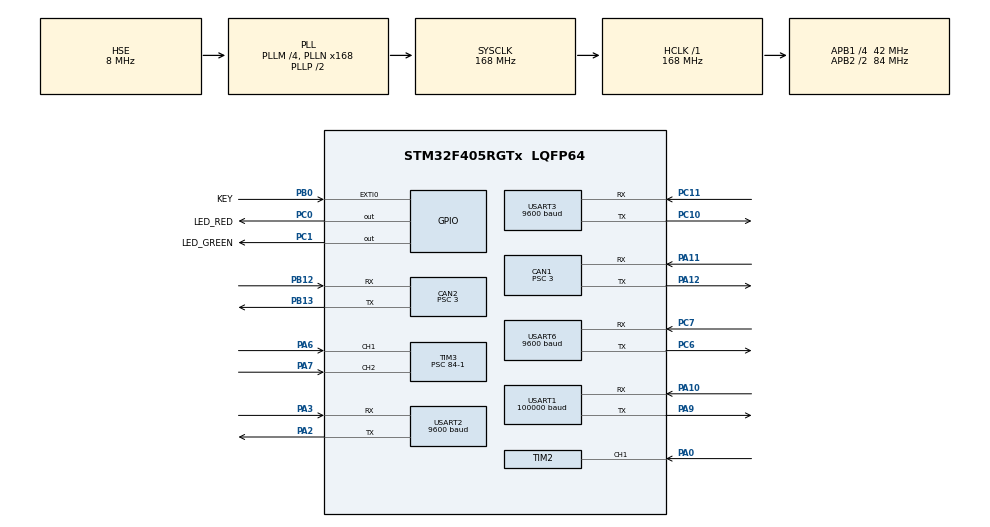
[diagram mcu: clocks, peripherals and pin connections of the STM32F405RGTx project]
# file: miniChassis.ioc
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Mcu.Family=STM32F4
NVIC.USART3_IRQn=true\:0\:0\:false\:false\:true\:true\:true
Dma.USART6_RX.5.FIFOMode=DMA_FIFOMODE_DISABLE
PH0-OSC_IN.Signal=RCC_OSC_IN
RCC.CortexFreq_Value=168000000
TIM2.Channel-Input_Capture1_from_TI1=TIM_CHANNEL_1
Dma.USART3_TX.4.Priority=DMA_PRIORITY_HIGH
NVIC.CAN2_RX0_IRQn=true\:0\:0\:false\:false\:true\:true\:true
Dma.USART6_RX.5.Priority=DMA_PRIORITY_LOW
Dma.USART2_TX.1.MemInc=DMA_MINC_ENABLE
USART1.BaudRate=100000
PC10.Signal=USART3_TX
USART1.WordLength=WORDLENGTH_9B
Dma.USART1_RX.2.Instance=DMA2_Stream2
PC0.GPIO_Label=LED_RED
PA11.Mode=Master
Dma.USART6_TX.6.MemDataAlignment=DMA_MDATAALIGN_BYTE
PB0.GPIO_Label=KEY
Dma.USART6_RX.5.PeriphDataAlignment=DMA_PDATAALIGN_BYTE
PB13.Signal=CAN2_TX
Dma.USART3_RX.3.Mode=DMA_NORMAL
RCC.SYSCLKSource=RCC_SYSCLKSOURCE_PLLCLK
ProjectManager.StackSize=0x400
Dma.USART6_RX.5.MemInc=DMA_MINC_ENABLE
Dma.USART3_RX.3.MemDataAlignment=DMA_MDATAALIGN_BYTE
PA12.Signal=CAN1_TX
USART3.BaudRate=9600
Dma.USART3_RX.3.PeriphDataAlignment=DMA_PDATAALIGN_BYTE
Dma.USART2_RX.0.Priority=DMA_PRIORITY_LOW
Dma.USART2_RX.0.PeriphDataAlignment=DMA_PDATAALIGN_BYTE
Dma.USART6_RX.5.Instance=DMA2_Stream1
RCC.HCLKFreq_Value=168000000
RCC.APB2TimFreq_Value=168000000
TIM3.Period=999
Dma.USART3_TX.4.MemDataAlignment=DMA_MDATAALIGN_BYTE
Dma.USART6_TX.6.PeriphInc=DMA_PINC_DISABLE
PC7.Signal=USART6_RX
Dma.USART2_TX.1.Mode=DMA_NORMAL
PC1.PinState=GPIO_PIN_SET
RCC.AHBFreq_Value=168000000
PH0-OSC_IN.Mode=HSE-External-Oscillator
RCC.HSE_VALUE=8000000
TIM3.Channel-Input_Capture1_from_TI1=TIM_CHANNEL_1
Dma.USART3_RX.3.Instance=DMA1_Stream1
PC1.GPIO_PuPd=GPIO_PULLUP
PA6.GPIO_PuPd=GPIO_PULLUP
Dma.USART2_RX.0.MemDataAlignment=DMA_MDATAALIGN_BYTE
PA14.Mode=Serial_Wire
CAN2.Prescaler=3
Dma.USART2_TX.1.Instance=DMA1_Stream6
TIM3.Prescaler=84-1
NVIC.TIM2_IRQn=true\:0\:0\:false\:false\:true\:true\:true
Dma.USART2_RX.0.Instance=DMA1_Stream5
Dma.USART6_TX.6.PeriphDataAlignment=DMA_PDATAALIGN_BYTE
Dma.USART3_RX.3.PeriphInc=DMA_PINC_DISABLE
SH.S_TIM3_CH1.0=TIM3_CH1,Input_Capture1_from_TI1
TIM4.Period=1000-1
Dma.USART3_TX.4.Direction=DMA_MEMORY_TO_PERIPH
PH1-OSC_OUT.Mode=HSE-External-Oscillator
CAN1.Prescaler=3
Mcu.Package=LQFP64
TIM2.Prescaler=84-1
PA6.Signal=S_TIM3_CH1
PB12.Mode=Slave
CAN2.BS1=CAN_BS1_7TQ
Dma.USART6_RX.5.PeriphInc=DMA_PINC_DISABLE
CAN2.BS2=CAN_BS2_6TQ
Dma.USART2_RX.0.PeriphInc=DMA_PINC_DISABLE
USART2.VirtualMode=VM_ASYNC
USART6.VirtualMode=VM_ASYNC
Dma.USART2_RX.0.FIFOMode=DMA_FIFOMODE_DISABLE
Dma.USART6_RX.5.Mode=DMA_NORMAL
PA10.Signal=USART1_RX
USART6.BaudRate=9600
PC11.Mode=Asynchronous
Dma.USART3_TX.4.Instance=DMA1_Stream3
Dma.USART3_RX.3.MemInc=DMA_MINC_ENABLE
RCC.APB2CLKDivider=RCC_HCLK_DIV2
NVIC.DMA2_Stream2_IRQn=true\:0\:0\:false\:false\:true\:false\:true
Dma.Request2=USART1_RX
Dma.Request1=USART2_TX
RCC.APB1TimFreq_Value=84000000
Dma.Request4=USART3_TX
Dma.Request3=USART3_RX
Dma.Request6=USART6_TX
Dma.Request5=USART6_RX
PB13.Mode=Slave
PC0.GPIO_PuPd=GPIO_PULLUP
NVIC.USART1_IRQn=true\:0\:0\:false\:false\:true\:true\:true
Dma.Request0=USART2_RX
NVIC.DMA1_Stream6_IRQn=true\:0\:0\:false\:false\:true\:false\:true
PC0.PinState=GPIO_PIN_SET
VP_TIM3_VS_ClockSourceINT.Mode=Internal
Dma.USART1_RX.2.MemDataAlignment=DMA_MDATAALIGN_BYTE
PA3.Signal=USART2_RX
CAN1.CalculateTimeQuantum=71.42857142857143
Dma.USART3_TX.4.FIFOMode=DMA_FIFOMODE_DISABLE
RCC.PLLSourceVirtual=RCC_PLLSOURCE_HSE
Dma.USART3_TX.4.PeriphInc=DMA_PINC_DISABLE
Dma.USART2_TX.1.Priority=DMA_PRIORITY_LOW
Dma.USART6_TX.6.Direction=DMA_MEMORY_TO_PERIPH
Dma.USART6_TX.6.MemInc=DMA_MINC_ENABLE
Dma.USART3_RX.3.Direction=DMA_PERIPH_TO_MEMORY
NVIC.CAN2_TX_IRQn=true\:0\:0\:false\:false\:true\:true\:true
TIM3.Channel-Input_Capture2_from_TI2=TIM_CHANNEL_2
PA10.Mode=Asynchronous
Dma.USART2_TX.1.FIFOMode=DMA_FIFOMODE_DISABLE
TIM3.AutoReloadPreload=TIM_AUTORELOAD_PRELOAD_ENABLE
Dma.USART3_TX.4.MemInc=DMA_MINC_ENABLE
PC11.Signal=USART3_RX
PC6.Signal=USART6_TX
PC10.Mode=Asynchronous
Dma.USART2_RX.0.Direction=DMA_PERIPH_TO_MEMORY
NVIC.DMA1_Stream1_IRQn=true\:0\:0\:false\:false\:true\:false\:true
NVIC.DMA2_Stream1_IRQn=true\:0\:0\:false\:false\:true\:false\:true
PC0.Signal=GPIO_Output
RCC.APB1CLKDivider=RCC_HCLK_DIV4
Dma.USART2_TX.1.PeriphDataAlignment=DMA_PDATAALIGN_BYTE
Dma.USART1_RX.2.PeriphInc=DMA_PINC_DISABLE
NVIC.USART2_IRQn=true\:0\:0\:false\:false\:true\:true\:true
USART2.BaudRate=9600
PA0-WKUP.Signal=S_TIM2_CH1_ETR
Dma.USART2_RX.0.Mode=DMA_NORMAL
NVIC.USART6_IRQn=true\:0\:0\:false\:false\:true\:true\:true
PA3.Mode=Asynchronous
PA13.Signal=SYS_JTMS-SWDIO
Dma.USART6_TX.6.Priority=DMA_PRIORITY_LOW
PA9.Mode=Asynchronous
CAN1.BS2=CAN_BS2_6TQ
CAN1.BS1=CAN_BS1_7TQ
ProjectManager.TargetToolchain=MDK-ARM V5.27
NVIC.DMA1_Stream5_IRQn=true\:0\:0\:false\:false\:true\:false\:true
Dma.USART1_RX.2.Mode=DMA_NORMAL
PC6.Mode=Asynchronous
Dma.USART1_RX.2.PeriphDataAlignment=DMA_PDATAALIGN_BYTE
Dma.USART3_RX.3.FIFOMode=DMA_FIFOMODE_DISABLE
PA9.Signal=USART1_TX
USART1.Parity=PARITY_EVEN
NVIC.DMA2_Stream6_IRQn=true\:0\:0\:false\:false\:true\:false\:true
TIM4.Prescaler=84-1
RCC.LSE_VALUE=32768
PA7.GPIO_PuPd=GPIO_PULLUP
SH.S_TIM3_CH2.0=TIM3_CH2,Input_Capture2_from_TI2
Dma.USART3_TX.4.PeriphDataAlignment=DMA_PDATAALIGN_BYTE
Dma.USART2_TX.1.PeriphInc=DMA_PINC_DISABLE
board=custom
Dma.USART1_RX.2.FIFOMode=DMA_FIFOMODE_DISABLE
RCC.VCOOutputFreq_Value=336000000
Dma.USART1_RX.2.Priority=DMA_PRIORITY_VERY_HIGH
NVIC.TIM3_IRQn=true\:0\:0\:false\:false\:true\:true\:true
Dma.USART2_TX.1.Direction=DMA_MEMORY_TO_PERIPH
RCC.APB2Freq_Value=84000000
Dma.USART1_RX.2.Direction=DMA_PERIPH_TO_MEMORY
Dma.USART6_RX.5.MemDataAlignment=DMA_MDATAALIGN_BYTE
USART1.Mode=MODE_RX
VP_TIM2_VS_ClockSourceINT.Mode=Internal
PC1.GPIO_Label=LED_GREEN
CAN2.CalculateTimeQuantum=71.42857142857143
PH1-OSC_OUT.Signal=RCC_OSC_OUT
TIM2.Period=0xFFFF
Dma.USART6_TX.6.Mode=DMA_NORMAL
PA13.Mode=Serial_Wire
Dma.USART6_RX.5.Direction=DMA_PERIPH_TO_MEMORY
Mcu.Name=STM32F405RGTx
Dma.USART2_RX.0.MemInc=DMA_MINC_ENABLE
Dma.USART1_RX.2.MemInc=DMA_MINC_ENABLE
PA2.Signal=USART2_TX
RCC.48MHZClocksFreq_Value=84000000
NVIC.EXTI0_IRQn=true\:0\:0\:false\:false\:true\:true\:true
RCC.SYSCLKFreq_VALUE=168000000
PA12.Mode=Master
Dma.USART3_TX.4.Mode=DMA_NORMAL
USART3.VirtualMode=VM_ASYNC
USART1.VirtualMode=VM_ASYNC
PA11.Signal=CAN1_RX
SH.S_TIM2_CH1_ETR.0=TIM2_CH1,Input_Capture1_from_TI1
PA14.Signal=SYS_JTCK-SWCLK
ProjectManager.HeapSize=0x200
Dma.USART6_TX.6.FIFOMode=DMA_FIFOMODE_DISABLE
RCC.HSI_VALUE=16000000
VP_TIM4_VS_ClockSourceINT.Mode=Internal
NVIC.PriorityGroup=NVIC_PRIORITYGROUP_4
RCC.PLLM=4
RCC.PLLN=168
PA2.Mode=Asynchronous
PA0-WKUP.GPIO_PuPd=GPIO_PULLUP
Dma.USART3_RX.3.Priority=DMA_PRIORITY_HIGH
NVIC.DMA1_Stream3_IRQn=true\:0\:0\:false\:false\:true\:false\:true
Dma.USART2_TX.1.MemDataAlignment=DMA_MDATAALIGN_BYTE
PC7.Mode=Asynchronous
Dma.USART6_TX.6.Instance=DMA2_Stream6
NVIC.TIM4_IRQn=true\:0\:0\:false\:false\:true\:true\:true
RCC.APB1Freq_Value=42000000
PB0.Signal=GPXTI0
PC1.Signal=GPIO_Output
PB12.Signal=CAN2_RX
NVIC.CAN1_RX0_IRQn=true\:0\:0\:false\:false\:true\:true\:true
PA7.Signal=S_TIM3_CH2

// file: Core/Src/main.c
/* USER CODE BEGIN Header */
/**
  ******************************************************************************
  * @file           : main.c
  * @brief          : Main program body
  ******************************************************************************
  * @attention
  *
  * <h2><center>&copy; Copyright (c) 2020 STMicroelectronics.
  * All rights reserved.</center></h2>
  *
  * This software component is licensed by ST under BSD 3-Clause license,
  * the "License"; You may not use this file except in compliance with the
  * License. You may obtain a copy of the License at:
  *                        opensource.org/licenses/BSD-3-Clause
  *
  ******************************************************************************
  */
/* USER CODE END Header */
#include "main.h"
#include "can.h"
#include "dma.h"
#include "tim.h"
#include "usart.h"
#include "gpio.h"

/* USER CODE BEGIN Includes */
#include "robo_base.h"
#include "remote.h"
#include "chassis_control.h"
#include "uart_communicate.h"
#include "usart2_route.h"
/* USER CODE END Includes */

/* USER CODE BEGIN PV */
uint32_t SYS_Time=0;
int Flag=0;
extern ROBO_BASE Robo_Base;
extern ROUTE_DATA Route_Data;
extern PID pid_w;
extern PID pid_y;
extern PID pid_x;
/* USER CODE END PV */

void SystemClock_Config(void);

int main(void)
{

  /* MCU Configuration--------------------------------------------------------*/

  /* Reset of all peripherals, Initializes the Flash interface and the Systick. */
  HAL_Init();

  /* USER CODE BEGIN Init */
  PID_Init(&pid_w,	25.0f,	0,	0,	2000,	0,	500,	1000);
	PID_Init(&pid_y,	15.0f,	0,	0,	2000,	0,	500,	1000);
	PID_Init(&pid_x,	15.0f,	0,	0,	2000,	0,	500,	1000);

  /* USER CODE END Init */

  /* Configure the system clock */
  SystemClock_Config();

  /* USER CODE BEGIN SysInit */
	Route_Data.tar_x=0;
	Route_Data.tar_y=0;
   Route_Data.tar_speed=0;
	 Route_Data.tar_angel=0;
  /* USER CODE END SysInit */

  /* Initialize all configured peripherals */
  MX_GPIO_Init();
  MX_DMA_Init();
  MX_CAN1_Init();
  MX_TIM3_Init();
  MX_USART2_UART_Init();
  MX_USART1_UART_Init();
  MX_TIM2_Init();
  MX_TIM4_Init();
  MX_USART3_UART_Init();
  MX_USART6_UART_Init();
  MX_CAN2_Init();
  /* USER CODE BEGIN 2 */
 CAN_Filter_Init(&hcan1);
  HAL_CAN_Start(&hcan1);
  HAL_CAN_ActivateNotification(&hcan1,CAN_IT_RX_FIFO0_MSG_PENDING);

  CAN_Filter_Init(&hcan2);
  HAL_CAN_Start(&hcan2);
  HAL_CAN_ActivateNotification(&hcan2,CAN_IT_RX_FIFO0_MSG_PENDING);

	BASE_Init(&Robo_Base);
  Usart_All_Init();

	 HAL_TIM_Base_Start_IT(&htim4);
  HAL_TIM_Base_Start_IT(&htim3);
	HAL_TIM_IC_Start_IT(&htim3,TIM_CHANNEL_1);
	HAL_TIM_IC_Start_IT(&htim3,TIM_CHANNEL_2);
	HAL_TIM_Base_Start_IT(&htim2); //使能溢出更新中断
	HAL_TIM_IC_Start_IT(&htim2,TIM_CHANNEL_1);
		Uart2_Eable();//53
		Uart3_Eable();//53
		Uart6_Eable();//53

/************************************************************************************/
/************************************************************************************/
  /* USER CODE END 2 */

  /* Infinite loop */
	while (1)
  {

  }
}

void SystemClock_Config(void)
{
  RCC_OscInitTypeDef RCC_OscInitStruct = {0};
  RCC_ClkInitTypeDef RCC_ClkInitStruct = {0};

  /** Configure the main internal regulator output voltage
  */
  __HAL_RCC_PWR_CLK_ENABLE();
  __HAL_PWR_VOLTAGESCALING_CONFIG(PWR_REGULATOR_VOLTAGE_SCALE1);
  /** Initializes the RCC Oscillators according to the specified parameters
  * in the RCC_OscInitTypeDef structure.
  */
  RCC_OscInitStruct.OscillatorType = RCC_OSCILLATORTYPE_HSE;
  RCC_OscInitStruct.HSEState = RCC_HSE_ON;
  RCC_OscInitStruct.PLL.PLLState = RCC_PLL_ON;
  RCC_OscInitStruct.PLL.PLLSource = RCC_PLLSOURCE_HSE;
  RCC_OscInitStruct.PLL.PLLM = 4;
  RCC_OscInitStruct.PLL.PLLN = 168;
  RCC_OscInitStruct.PLL.PLLP = RCC_PLLP_DIV2;
  RCC_OscInitStruct.PLL.PLLQ = 4;
  if (HAL_RCC_OscConfig(&RCC_OscInitStruct) != HAL_OK)
  {
    Error_Handler();
  }
  /** Initializes the CPU, AHB and APB buses clocks
  */
  RCC_ClkInitStruct.ClockType = RCC_CLOCKTYPE_HCLK|RCC_CLOCKTYPE_SYSCLK
                              |RCC_CLOCKTYPE_PCLK1|RCC_CLOCKTYPE_PCLK2;
  RCC_ClkInitStruct.SYSCLKSource = RCC_SYSCLKSOURCE_PLLCLK;
  RCC_ClkInitStruct.AHBCLKDivider = RCC_SYSCLK_DIV1;
  RCC_ClkInitStruct.APB1CLKDivider = RCC_HCLK_DIV4;
  RCC_ClkInitStruct.APB2CLKDivider = RCC_HCLK_DIV2;

  if (HAL_RCC_ClockConfig(&RCC_ClkInitStruct, FLASH_LATENCY_5) != HAL_OK)
  {
    Error_Handler();
  }
}

/* USER CODE BEGIN 4 */
void Send_To_Motor(void)
{
  CAN_TxHeaderTypeDef TxHeader;
  extern uint8_t Tx_Data[8];
  uint32_t TxMailbox;

  TxHeader.RTR = 0;
  TxHeader.IDE = 0;
  TxHeader.StdId=0x200;
  TxHeader.TransmitGlobalTime = DISABLE;
  TxHeader.DLC = 8;

  if (HAL_CAN_AddTxMessage(&hcan1, &TxHeader, Tx_Data, &TxMailbox) != HAL_OK)
  {
   /* Transmission request Error */
     Error_Handler();
  }
}
/* USER CODE END 4 */

void Error_Handler(void)
{
}

/************************ (C) COPYRIGHT STMicroelectronics *****END OF FILE****/
